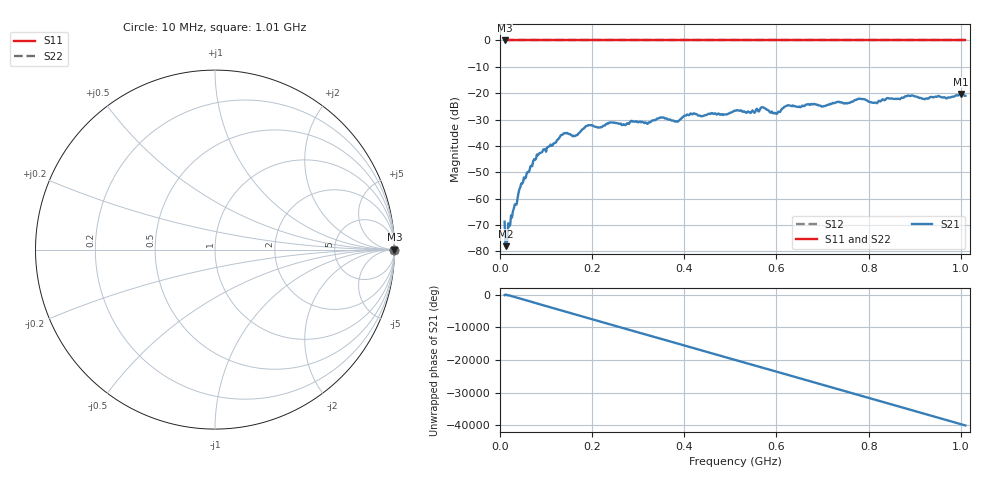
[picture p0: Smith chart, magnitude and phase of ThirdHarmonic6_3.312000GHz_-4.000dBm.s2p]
! 8/17/2025 10:21:12 AM
! C:\ANRITSUVNA\TEMP\TEMP.S2P
! CHANNEL.1
! TR.MEASUREMENT
! RAW.DATA
! RF.CORRECTION.OFF
! AVERAGING.OFF
! IF.BANDWIDTH: 5KHZ
! SWEEPTYPE:  FREQ.SWEEP(Linear)
! Reference Plane Port Info
! PORT:  PORT1  PORT2
! DISTANCE:  0  m  0  m
! TIME:  0  s  0  s
! PHASE.OFFSET:  0  deg.  0  deg.
! LOSS:  0  dB  0  dB
! REF.LOSS:  0  dB  0  dB
! REF.FREQ:  0  Hz  0  Hz
! Power Info
! POWER:  -20  dBm  -20  dBm
! EFF.POWER:  -20  dBm  -20  dBm
! SOURCE.ATTEN:  0  dB  0  dB
! TEST.ATTEN:  0  dB  0  dB
# GHZ S RI R 50.0
! FREQ.GHZ  S11RE  S11IM  S21RE  S21IM  S12RE  S12IM  S22RE  S22IM
!; PortSelection: Port_12
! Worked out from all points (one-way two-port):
!   501 points, 10 MHz to 1.01 GHz, reference 50 ohm
!   highest |S21| = -20.35 dB at 1 GHz (marker M1); lowest = -78.0 dB at 12 MHz (marker M2)
!   lowest |S11| = 0.0 dB at 10 MHz (marker M3)
!   |S11| at or under -10 dB: nowhere
!   |S22| runs from 0.0 to 0.0 dB; largest |S21 - S12| = 1.1
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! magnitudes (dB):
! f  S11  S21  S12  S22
! 10 MHz  0.0  -68.8  0.0  0.0
! 12 MHz  0.0  -78.0  0.0  0.0
! 16 MHz  0.0  -75.8  0.0  0.0
! 22 MHz  0.0  -70.0  0.0  0.0
! 44 MHz  0.0  -55.6  0.0  0.0
! 76 MHz  0.0  -45.4  0.0  0.0
! 136 MHz  0.0  -35.7  0.0  0.0
! 162 MHz  0.0  -36.3  0.0  0.0
! 178 MHz  0.0  -33.8  0.0  0.0
! 194 MHz  0.0  -32.1  0.0  0.0
! 318 MHz  0.0  -31.4  0.0  0.0
! 344 MHz  0.0  -29.6  0.0  0.0
! 384 MHz  0.0  -30.7  0.0  0.0
! 416 MHz  0.0  -28.0  0.0  0.0
! 510 MHz  0.0  -26.6  0.0  0.0
! 570 MHz  0.0  -25.3  0.0  0.0
! 598 MHz  0.0  -27.6  0.0  0.0
! 624 MHz  0.0  -24.6  0.0  0.0
! 678 MHz  0.0  -24.2  0.0  0.0
! 844 MHz  0.0  -22.0  0.0  0.0
! 1 GHz  0.0  -20.4  0.0  0.0
! 1.01 GHz  0.0  -21.0  0.0  0.0
